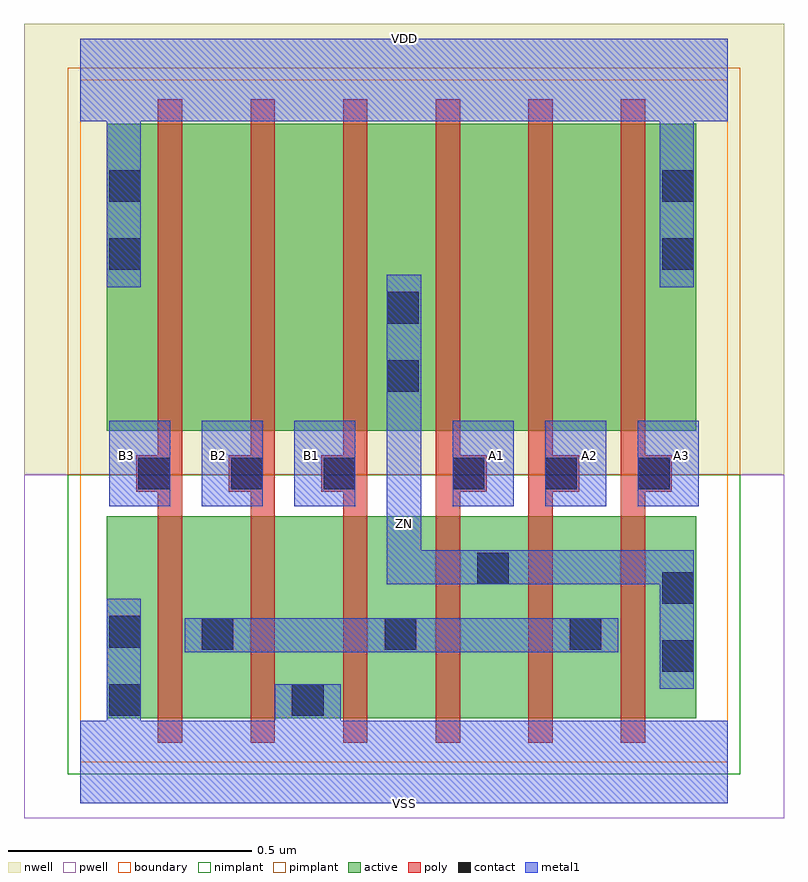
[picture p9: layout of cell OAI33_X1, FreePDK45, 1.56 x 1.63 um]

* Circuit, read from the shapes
.subckt OAI33_X1 A1 A2 A3 B1 B2 B3 VDD VSS ZN
M1 n1 B3 VSS VSUBS nfet w=0.415u l=0.05u
M2 VSS B2 n1 VSUBS nfet w=0.415u l=0.05u
M3 n1 B1 VSS VSUBS nfet w=0.415u l=0.05u
M4 ZN A1 n1 VSUBS nfet w=0.415u l=0.05u
M5 n1 A2 ZN VSUBS nfet w=0.415u l=0.05u
M6 ZN A3 n1 VSUBS nfet w=0.415u l=0.05u
M7 n2 B3 VDD n3 pfet w=0.63u l=0.05u
M8 n4 B2 n2 n3 pfet w=0.63u l=0.05u
M9 ZN B1 n4 n3 pfet w=0.63u l=0.05u
M10 n5 A1 ZN n3 pfet w=0.63u l=0.05u
M11 n6 A2 n5 n3 pfet w=0.63u l=0.05u
M12 VDD A3 n6 n3 pfet w=0.63u l=0.05u
.ends

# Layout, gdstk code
import gdstk
lib = gdstk.Library(unit=1e-6, precision=5e-10)
def R(c, l, rs):  # rectangles x0, y0, x1, y1
    for r in rs: c.add(gdstk.rectangle(r[:2], r[2:], *l))
def A(c, l, x, y, w, h, nx, ny, dx, dy):  # array of equal rectangles
    R(c, l, [(x+i*dx, y+j*dy, x+i*dx+w, y+j*dy+h) for i in range(nx) for j in range(ny)])
def P(c, l, *ps):  # polygons
    for p in ps: c.add(gdstk.Polygon(p, *l))
active = (1, 0)
pwell = (2, 0)
nwell = (3, 0)
nimplant = (4, 0)
pimplant = (5, 0)
poly = (9, 0)
contact = (10, 0)
metal1 = (11, 0)
boundary = (235, 0)

oai33_x1 = lib.new_cell('OAI33_X1')
R(oai33_x1, active, [(0.055,0.09,1.265,0.505), (0.055,0.68,1.265,1.31)])
R(oai33_x1, pwell, [(-0.115,-0.115,1.445,0.59)])
R(oai33_x1, nwell, [(-0.115,0.59,1.445,1.515)])
R(oai33_x1, nimplant, [(-0.025,-0.025,1.355,0.59)])
R(oai33_x1, pimplant, [(-0.025,0.59,1.355,1.425)])
P(oai33_x1, poly, [(1.11,0.04),(1.16,0.04),(1.16,0.555),(1.215,0.555),(1.215,0.63),(1.16,0.63),(1.16,1.36),(1.11,1.36)],
  [(0.92,0.04),(0.97,0.04),(0.97,0.555),(1.025,0.555),(1.025,0.63),(0.97,0.63),(0.97,1.36),(0.92,1.36)],
  [(0.73,0.04),(0.78,0.04),(0.78,0.555),(0.835,0.555),(0.835,0.63),(0.78,0.63),(0.78,1.36),(0.73,1.36)],
  [(0.495,0.555),(0.54,0.555),(0.54,0.04),(0.59,0.04),(0.59,1.36),(0.54,1.36),(0.54,0.63),(0.495,0.63)],
  [(0.305,0.555),(0.35,0.555),(0.35,0.04),(0.4,0.04),(0.4,1.36),(0.35,1.36),(0.35,0.63),(0.305,0.63)],
  [(0.115,0.555),(0.16,0.555),(0.16,0.04),(0.21,0.04),(0.21,1.36),(0.16,1.36),(0.16,0.63),(0.115,0.63)])
A(oai33_x1, contact, 0.12, 0.56, 0.065, 0.065, 3, 1, 0.19, 0)
A(oai33_x1, contact, 0.765, 0.56, 0.065, 0.065, 3, 1, 0.19, 0)
R(oai33_x1, contact, [(0.06,0.095,0.125,0.16), (0.435,0.095,0.5,0.16), (1.195,0.185,1.26,0.25), (0.25,0.23,0.315,0.295), (0.625,0.23,0.69,0.295), (1.005,0.23,1.07,0.295), (0.06,0.235,0.125,0.3), (1.195,0.325,1.26,0.39), (0.815,0.365,0.88,0.43), (0.63,0.76,0.695,0.825), (0.63,0.9,0.695,0.965), (0.06,1.01,0.125,1.075), (1.195,1.01,1.26,1.075), (0.06,1.15,0.125,1.215), (1.195,1.15,1.26,1.215)])
R(oai33_x1, metal1, [(0.215,0.225,1.105,0.295), (0.06,0.525,0.185,0.7), (0.06,0.525,0.185,0.7), (0.25,0.525,0.375,0.7), (0.25,0.525,0.375,0.7), (0.44,0.525,0.565,0.7), (0.44,0.525,0.565,0.7), (0.765,0.525,0.89,0.7), (0.765,0.525,0.89,0.7), (0.955,0.525,1.08,0.7), (0.955,0.525,1.08,0.7), (1.145,0.525,1.27,0.7), (1.145,0.525,1.27,0.7)])
P(oai33_x1, metal1, [(0,-0.085),(1.33,-0.085),(1.33,0.085),(0.535,0.085),(0.535,0.16),(0.4,0.16),(0.4,0.085),(0.125,0.085),(0.125,0.335),(0.055,0.335),(0.055,0.085),(0,0.085)],
  [(0,1.315),(0.055,1.315),(0.055,0.975),(0.125,0.975),(0.125,1.315),(1.19,1.315),(1.19,0.975),(1.26,0.975),(1.26,1.315),(1.33,1.315),(1.33,1.485),(0,1.485)],
  [(0.63,0.365),(1.19,0.365),(1.19,0.15),(1.26,0.15),(1.26,0.435),(0.7,0.435),(0.7,1),(0.63,1)],
  [(0,1.315),(0.055,1.315),(0.055,0.975),(0.125,0.975),(0.125,1.315),(1.19,1.315),(1.19,0.975),(1.26,0.975),(1.26,1.315),(1.33,1.315),(1.33,1.485),(0,1.485)],
  [(0,-0.085),(1.33,-0.085),(1.33,0.085),(0.535,0.085),(0.535,0.16),(0.4,0.16),(0.4,0.085),(0.125,0.085),(0.125,0.335),(0.055,0.335),(0.055,0.085),(0,0.085)],
  [(0.63,0.365),(1.19,0.365),(1.19,0.15),(1.26,0.15),(1.26,0.435),(0.7,0.435),(0.7,1),(0.63,1)])
R(oai33_x1, boundary, [(0,0,1.33,1.4)])
oai33_x1.add(gdstk.Label('ZN', (0.665,0.49), layer=11, texttype=0))
oai33_x1.add(gdstk.Label('VSS', (0.665,-0.085), layer=11, texttype=0))
oai33_x1.add(gdstk.Label('VDD', (0.665,1.485), layer=11, texttype=0))
oai33_x1.add(gdstk.Label('B3', (0.095,0.63), layer=11, texttype=0))
oai33_x1.add(gdstk.Label('B2', (0.285,0.63), layer=11, texttype=0))
oai33_x1.add(gdstk.Label('B1', (0.475,0.63), layer=11, texttype=0))
oai33_x1.add(gdstk.Label('A3', (1.235,0.63), layer=11, texttype=0))
oai33_x1.add(gdstk.Label('A2', (1.045,0.63), layer=11, texttype=0))
oai33_x1.add(gdstk.Label('A1', (0.855,0.63), layer=11, texttype=0))

lib.write_gds('OAI33_X1.gds')
